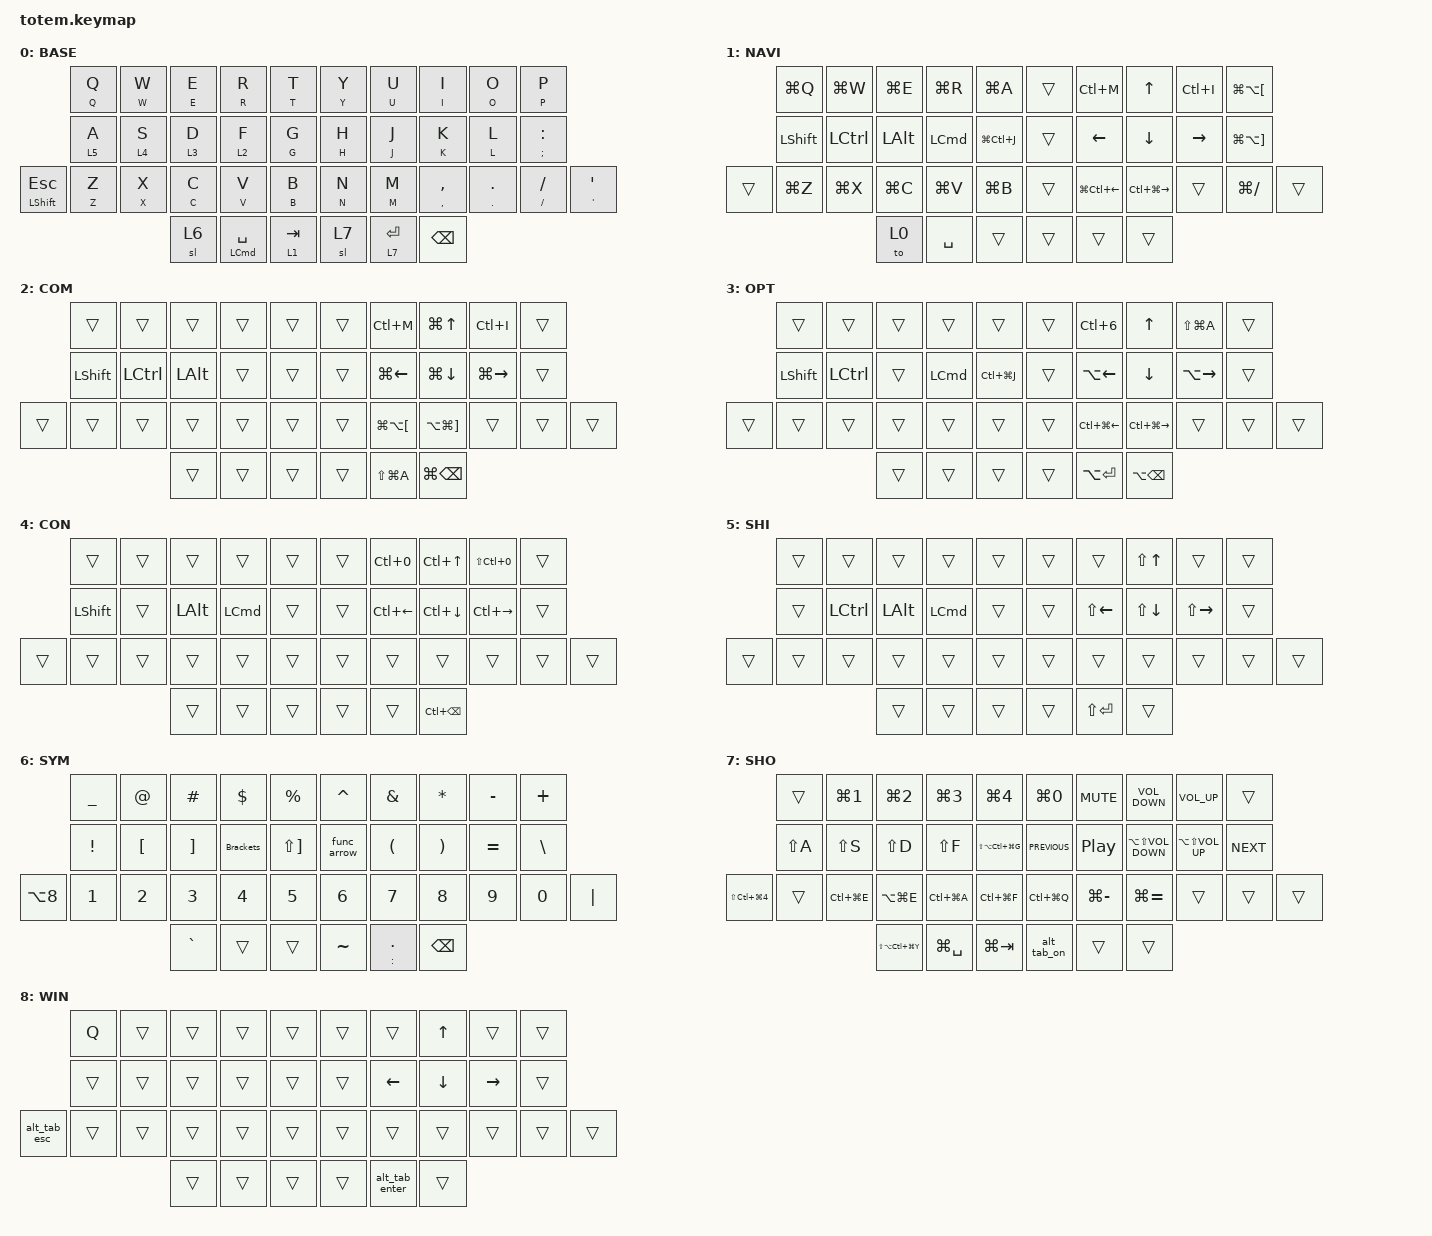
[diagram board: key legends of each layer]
//
//                                                        ▀▀▀▀▀     ▀▀▀▀▀          ▀▀█▀▀
//                                                        ▄▀▀▀▄  ▄  ▄▀▀▀▄  ▄  ▄▀▀▀▄  █  ▄▀▀▀▄
//                                                        █   █  █  █   █  █  █   █  █  █   █
//                                                         ▀▀▀   █   ▀▀▀   █   ▀▀▀   ▀   ▀▀▀
//                                                               █      ▄▄▄█▄▄▄    █   █  
//                                                               ▀      █  █  █     █▄█
//                                                             ▀▀▀▀▀    █  █  █      ▀
//                                                                      ▀  ▀  ▀
//
// ▄▄▄▄▄▄▄▄▄▄▄▄▄▄▄▄▄▄▄▄▄▄▄▄▄▄▄▄▄▄▄▄▄▄▄▄▄▄▄▄▄▄▄▄▄▄▄▄▄▄▄▄▄▄▄▄▄▄▄▄▄▄▄▄▄▄▄▄▄▄▄▄▄▄▄▄▄▄▄▄▄▄▄▄▄▄▄▄▄▄▄▄▄▄▄▄▄▄▄▄▄▄▄▄▄▄▄▄▄▄▄▄▄▄▄▄▄▄▄▄▄▄▄▄▄▄▄▄▄▄▄▄▄▄▄▄▄▄▄▄▄▄▄▄▄▄▄▄▄

#include <behaviors.dtsi>
#include <dt-bindings/zmk/keys.h>
#include <dt-bindings/zmk/keys.h>

#define BASE 0
#define NAV  1
#define SYM  2
#define ADJ  3

&mt {
    quick-tap-ms = <100>;
    global-quick-tap;
    flavor = "tap-preferred";
    tapping-term-ms = <170>;
};

/ {
    combos {
        compatible = "zmk,combos";

        caps {
            bindings = <&caps_word>;
            key-positions = <6 7>;
            layers = <0>;
        };

        to_nav_layer {
            bindings = <&tog 1>;
            key-positions = <16 17>;
            layers = <0>;
        };
    };

    macros {
        shift: shift {
            compatible = "zmk,behavior-macro-one-param";
            #binding-cells = <1>;
            bindings =
                <&macro_press>,
                <&kp LEFT_SHIFT>,
                <&macro_tap>,
                <&macro_param_1to1 &kp MACRO_PLACEHOLDER>,
                <&macro_release>,
                <&kp LEFT_SHIFT>;

            label = "SHIFT";
        };

        Brackets: Brackets {
            compatible = "zmk,behavior-macro";
            #binding-cells = <0>;
            bindings = <&kp LS(LEFT_BRACKET) &kp SPACE &kp SPACE &kp LS(RIGHT_BRACKET) &kp LEFT &kp LEFT>;
            label = "BRACKETS";
        };

        func_arrow: func_arrow {
            compatible = "zmk,behavior-macro";
            #binding-cells = <0>;
            bindings = <&kp MINUS &kp GT &kp SPACE>;
            label = "FUNC_ARROW";
        };

        alt_tab_on: alt_tab {
            compatible = "zmk,behavior-macro";
            #binding-cells = <0>;
            bindings = <&kt LEFT_COMMAND &kp TAB &to 8>;
            label = "ALT_TAB";
        };

        alt_tab_enter: alt_tab_off {
            compatible = "zmk,behavior-macro";
            #binding-cells = <0>;
            bindings = <&kt LEFT_COMMAND &to 0>;
            label = "ALT_TAB_OFF";
        };

        alt_tab_esc: alt_tab_esc {
            compatible = "zmk,behavior-macro";
            #binding-cells = <0>;
            bindings = <&kp ESC &kt LEFT_COMMAND &to 0>;
            label = "ALT_TAB_ESC";
        };
    };

    behaviors {
        as_ht: autoshift_hold_tap {
            compatible = "zmk,behavior-hold-tap";
            label = "AUTOSHIFT_HOLD_TAP";
            bindings = <&shift>, <&kp>;

            #binding-cells = <2>;
            tapping-term-ms = <190>;
            flavor = "tap-preferred";
        };
    };

    keymap {
        compatible = "zmk,keymap";

        // ▄▄▄▄▄▄▄▄▄▄▄▄▄▄▄▄▄▄▄▄▄▄▄▄▄▄▄▄▄▄▄▄▄▄▄▄▄▄▄▄▄▄▄▄▄▄▄▄▄▄▄▄▄▄▄▄▄▄▄▄▄▄▄▄▄▄▄▄▄▄▄▄▄▄▄▄▄▄▄▄▄▄▄▄▄▄▄▄▄▄▄▄▄▄▄▄▄▄▄▄▄▄▄▄▄▄▄▄▄▄▄▄▄▄▄▄▄▄▄▄▄▄▄▄▄▄▄▄▄▄▄▄▄▄▄▄▄▄▄▄▄▄▄▄▄▄▄▄▄

        base_layer {
            // ┏━━━━━━━━━━━━━━━━━━━━━━━━━━━━━━━━━━━━━━━┓

            label = "BASE";

            // ┗━━━━━━━━━━━━━━━━━━━━━━━━━━━━━━━━━━━━━━━┛
            //             ┏━━━━━━━━━━━┳━━━━━━━━━━━┳━━━━━━━━━━━┳━━━━━━━━━━━┳━━━━━━━━━━━┓   ┏━━━━━━━━━━━┳━━━━━━━━━━━┳━━━━━━━━━━━┳━━━━━━━━━━━┳━━━━━━━━━━━┓
            //             ┃     Q     ┃     W     ┃     E     ┃     R     ┃     T     ┃   ┃     Y     ┃     U     ┃     I     ┃     O     ┃     P     ┃
            //             ┣━━━━━━━━━━━╋━━━━━━━━━━━╋━━━━━━━━━━━╋━━━━━━━━━━━╋━━━━━━━━━━━┫   ┣━━━━━━━━━━━╋━━━━━━━━━━━╋━━━━━━━━━━━╋━━━━━━━━━━━╋━━━━━━━━━━━┫
            //             ┃     A     ┃     S     ┃     D     ┃     F     ┃     G     ┃   ┃     H     ┃     J     ┃     K     ┃     L     ┃     ;     ┃
            // ┏━━━━━━━━━━━╋━━━━━━━━━━━╋━━━━━━━━━━━╋━━━━━━━━━━━╋━━━━━━━━━━━╋━━━━━━━━━━━┫   ┣━━━━━━━━━━━╋━━━━━━━━━━━╋━━━━━━━━━━━╋━━━━━━━━━━━╋━━━━━━━━━━━╋━━━━━━━━━━━┓
            // ┃     Q     ┃     Z     ┃     X     ┃     C     ┃     V     ┃     B     ┃   ┃     N     ┃     M     ┃     ,     ┃     .     ┃     /     ┃     \     ┃
            // ┗━━━━━━━━━━━┻━━━━━━━━━━━┻━━━━━━━━━━━╋━━━━━━━━━━━╋━━━━━━━━━━━╋━━━━━━━━━━━┫   ┣━━━━━━━━━━━╋━━━━━━━━━━━╋━━━━━━━━━━━╋━━━━━━━━━━━┻━━━━━━━━━━━┻━━━━━━━━━━━┛
            //                                     ┃    DEL    ┃    TAB    ┃    SPC    ┃   ┃   ENTER   ┃           ┃   BSPC    ┃
            //                                     ┗━━━━━━━━━━━┻━━━━━━━━━━━┻━━━━━━━━━━━┛   ┗━━━━━━━━━━━┻━━━━━━━━━━━┻━━━━━━━━━━━┛

            bindings = <
                    &as_ht Q Q  &as_ht W W  &as_ht E E  &as_ht R R              &as_ht T T    &as_ht Y Y  &as_ht U U   &as_ht I I          &as_ht O O      &as_ht P P
                    &lt 5 A     &lt 4 S     &lt 3 D     &lt 2 F                 &as_ht G G    &as_ht H H  &as_ht J J   &as_ht K K          &as_ht L L      &as_ht SEMI COLON
&mt LEFT_SHIFT ESC  &as_ht Z Z  &as_ht X X  &as_ht C C  &as_ht V V              &as_ht B B    &as_ht N N  &as_ht M M   &as_ht COMMA COMMA  &as_ht DOT DOT  &as_ht FSLH FSLH   &as_ht SINGLE_QUOTE SINGLE_QUOTE
                                            &sl 6       &mt LEFT_COMMAND SPACE  &lt 1 TAB     &sl 7       &lt 7 ENTER  &kp BSPC
            >;
        };

        // ▄▄▄▄▄▄▄▄▄▄▄▄▄▄▄▄▄▄▄▄▄▄▄▄▄▄▄▄▄▄▄▄▄▄▄▄▄▄▄▄▄▄▄▄▄▄▄▄▄▄▄▄▄▄▄▄▄▄▄▄▄▄▄▄▄▄▄▄▄▄▄▄▄▄▄▄▄▄▄▄▄▄▄▄▄▄▄▄▄▄▄▄▄▄▄▄▄▄▄▄▄▄▄▄▄▄▄▄▄▄▄▄▄▄▄▄▄▄▄▄▄▄▄▄▄▄▄▄▄▄▄▄▄▄▄▄▄▄▄▄▄▄▄▄▄▄▄▄▄

        nav_layer {
            // ┏━━━━━━━━━━━━━━━━━━━━━━━━━━━━━━━━━━━━━━━┓

            label = "NAVI";

            // ┗━━━━━━━━━━━━━━━━━━━━━━━━━━━━━━━━━━━━━━━┛
            //             ┏━━━━━━━━━━━┳━━━━━━━━━━━┳━━━━━━━━━━━┳━━━━━━━━━━━┳━━━━━━━━━━━┓   ┏━━━━━━━━━━━┳━━━━━━━━━━━┳━━━━━━━━━━━┳━━━━━━━━━━━┳━━━━━━━━━━━┓
            //             ┃           ┃           ┃     UP    ┃           ┃     {     ┃   ┃     }     ┃     7     ┃     8     ┃     9     ┃     +     ┃
            //             ┣━━━━━━━━━━━╋━━━━━━━━━━━╋━━━━━━━━━━━╋━━━━━━━━━━━╋━━━━━━━━━━━┫   ┣━━━━━━━━━━━╋━━━━━━━━━━━╋━━━━━━━━━━━╋━━━━━━━━━━━╋━━━━━━━━━━━┫
            //             ┃   SHIFT   ┃   LEFT    ┃    DOWN   ┃   RIGHT   ┃     [     ┃   ┃     ]     ┃     4     ┃     5     ┃     6     ┃     -     ┃
            // ┏━━━━━━━━━━━╋━━━━━━━━━━━╋━━━━━━━━━━━╋━━━━━━━━━━━╋━━━━━━━━━━━╋━━━━━━━━━━━┫   ┣━━━━━━━━━━━╋━━━━━━━━━━━╋━━━━━━━━━━━╋━━━━━━━━━━━╋━━━━━━━━━━━╋━━━━━━━━━━━┓
            // ┃           ┃           ┃   P UP    ┃  C LOCK   ┃  P DOWN   ┃     (     ┃   ┃     )     ┃     1     ┃     2     ┃     3     ┃     *     ┃           ┃
            // ┗━━━━━━━━━━━┻━━━━━━━━━━━┻━━━━━━━━━━━╋━━━━━━━━━━━╋━━━━━━━━━━━╋━━━━━━━━━━━┫   ┣━━━━━━━━━━━╋━━━━━━━━━━━╋━━━━━━━━━━━╋━━━━━━━━━━━┻━━━━━━━━━━━┻━━━━━━━━━━━┛
            //                                     ┃           ┃    TAB    ┃    SPC    ┃   ┃    DEL    ┃     0     ┃           ┃
            //                                     ┗━━━━━━━━━━━┻━━━━━━━━━━━┻━━━━━━━━━━━┛   ┗━━━━━━━━━━━┻━━━━━━━━━━━┻━━━━━━━━━━━┛

            bindings = <
        &kp LG(Q)  &kp LG(W)         &kp LG(E)     &kp LG(R)         &kp LG(A)        &trans  &kp LC(M)               &kp UP_ARROW       &kp LC(I)  &kp LG(LA(LEFT_BRACKET))
        &kp LSHFT  &kp LEFT_CONTROL  &kp LEFT_ALT  &kp LEFT_COMMAND  &kp LG(LC(J))    &trans  &kp LEFT                &kp DOWN           &kp RIGHT  &kp LG(LA(RIGHT_BRACKET))
&trans  &kp LG(Z)  &kp LG(X)         &kp LG(C)     &kp LG(V)         &kp LG(B)        &trans  &kp LG(LC(LEFT_ARROW))  &kp LC(LG(RIGHT))  &trans     &kp LG(SLASH)              &trans
                                     &to 0         &kp SPACE         &trans           &trans  &trans                  &trans
            >;
        };

        // ▄▄▄▄▄▄▄▄▄▄▄▄▄▄▄▄▄▄▄▄▄▄▄▄▄▄▄▄▄▄▄▄▄▄▄▄▄▄▄▄▄▄▄▄▄▄▄▄▄▄▄▄▄▄▄▄▄▄▄▄▄▄▄▄▄▄▄▄▄▄▄▄▄▄▄▄▄▄▄▄▄▄▄▄▄▄▄▄▄▄▄▄▄▄▄▄▄▄▄▄▄▄▄▄▄▄▄▄▄▄▄▄▄▄▄▄▄▄▄▄▄▄▄▄▄▄▄▄▄▄▄▄▄▄▄▄▄▄▄▄▄▄▄▄▄▄▄▄▄

        command_layer {
            // ┏━━━━━━━━━━━━━━━━━━━━━━━━━━━━━━━━━━━━━━━┓

            label = "COM";

            // ┗━━━━━━━━━━━━━━━━━━━━━━━━━━━━━━━━━━━━━━━┛
            //             ┏━━━━━━━━━━━┳━━━━━━━━━━━┳━━━━━━━━━━━┳━━━━━━━━━━━┳━━━━━━━━━━━┓   ┏━━━━━━━━━━━┳━━━━━━━━━━━┳━━━━━━━━━━━┳━━━━━━━━━━━┳━━━━━━━━━━━┓
            //             ┃     !     ┃     @     ┃     #     ┃     $     ┃     %     ┃   ┃     ˆ     ┃     &     ┃     Ü     ┃     '     ┃     "     ┃
            //             ┣━━━━━━━━━━━╋━━━━━━━━━━━╋━━━━━━━━━━━╋━━━━━━━━━━━╋━━━━━━━━━━━┫   ┣━━━━━━━━━━━╋━━━━━━━━━━━╋━━━━━━━━━━━╋━━━━━━━━━━━╋━━━━━━━━━━━┫
            //             ┃     Ä     ┃           ┃    SZ     ┃           ┃           ┃   ┃   MUTE    ┃   YEN     ┃   EURO    ┃  POUND    ┃     Ö     ┃
            // ┏━━━━━━━━━━━╋━━━━━━━━━━━╋━━━━━━━━━━━╋━━━━━━━━━━━╋━━━━━━━━━━━╋━━━━━━━━━━━┫   ┣━━━━━━━━━━━╋━━━━━━━━━━━╋━━━━━━━━━━━╋━━━━━━━━━━━╋━━━━━━━━━━━╋━━━━━━━━━━━┓
            // ┃           ┃  EMAIL1   ┃  EMAIL2   ┃           ┃           ┃           ┃   ┃   VOL-    ┃   VOL+    ┃   LAST    ┃   NEXT    ┃     \     ┃           ┃
            // ┗━━━━━━━━━━━┻━━━━━━━━━━━┻━━━━━━━━━━━╋━━━━━━━━━━━╋━━━━━━━━━━━╋━━━━━━━━━━━┫   ┣━━━━━━━━━━━╋━━━━━━━━━━━╋━━━━━━━━━━━╋━━━━━━━━━━━┻━━━━━━━━━━━┻━━━━━━━━━━━┛
            //                                     ┃           ┃    GIF    ┃    ADJ    ┃   ┃           ┃           ┃           ┃
            //                                     ┗━━━━━━━━━━━┻━━━━━━━━━━━┻━━━━━━━━━━━┛   ┗━━━━━━━━━━━┻━━━━━━━━━━━┻━━━━━━━━━━━┛

            bindings = <
        &trans          &trans            &trans        &trans  &trans    &trans  &kp LC(M)                 &kp LG(UP_ARROW)           &kp LC(I)      &trans
        &kp LEFT_SHIFT  &kp LEFT_CONTROL  &kp LEFT_ALT  &trans  &trans    &trans  &kp LG(LEFT)              &kp LG(DOWN)               &kp LG(RIGHT)  &trans
&trans  &trans          &trans            &trans        &trans  &trans    &trans  &kp LG(LA(LEFT_BRACKET))  &kp LA(LG(RIGHT_BRACKET))  &trans         &trans  &trans
                                          &trans        &trans  &trans    &trans  &kp LS(LG(A))             &kp LG(BACKSPACE)
            >;
        };

        // ▄▄▄▄▄▄▄▄▄▄▄▄▄▄▄▄▄▄▄▄▄▄▄▄▄▄▄▄▄▄▄▄▄▄▄▄▄▄▄▄▄▄▄▄▄▄▄▄▄▄▄▄▄▄▄▄▄▄▄▄▄▄▄▄▄▄▄▄▄▄▄▄▄▄▄▄▄▄▄▄▄▄▄▄▄▄▄▄▄▄▄▄▄▄▄▄▄▄▄▄▄▄▄▄▄▄▄▄▄▄▄▄▄▄▄▄▄▄▄▄▄▄▄▄▄▄▄▄▄▄▄▄▄▄▄▄▄▄▄▄▄▄▄▄▄▄▄▄▄

        option_layer {
            // ┏━━━━━━━━━━━━━━━━━━━━━━━━━━━━━━━━━━━━━━━┓

            label = "OPT";

            // ┗━━━━━━━━━━━━━━━━━━━━━━━━━━━━━━━━━━━━━━━┛
            //             ┏━━━━━━━━━━━┳━━━━━━━━━━━┳━━━━━━━━━━━┳━━━━━━━━━━━┳━━━━━━━━━━━┓   ┏━━━━━━━━━━━┳━━━━━━━━━━━┳━━━━━━━━━━━┳━━━━━━━━━━━┳━━━━━━━━━━━┓
            //             ┃   RESET   ┃ BT CLEAR  ┃  OUT TOG  ┃           ┃           ┃   ┃           ┃    F7     ┃    F8     ┃    F9     ┃    F12    ┃
            //             ┣━━━━━━━━━━━╋━━━━━━━━━━━╋━━━━━━━━━━━╋━━━━━━━━━━━╋━━━━━━━━━━━┫   ┣━━━━━━━━━━━╋━━━━━━━━━━━╋━━━━━━━━━━━╋━━━━━━━━━━━╋━━━━━━━━━━━┫
            //             ┃ BOOTLOAD  ┃ BT NEXT   ┃           ┃           ┃           ┃   ┃           ┃    F4     ┃    F5     ┃    F6     ┃    F11    ┃
            // ┏━━━━━━━━━━━╋━━━━━━━━━━━╋━━━━━━━━━━━╋━━━━━━━━━━━╋━━━━━━━━━━━╋━━━━━━━━━━━┫   ┣━━━━━━━━━━━╋━━━━━━━━━━━╋━━━━━━━━━━━╋━━━━━━━━━━━╋━━━━━━━━━━━╋━━━━━━━━━━━┓
            // ┃           ┃           ┃ BT PREV   ┃           ┃           ┃           ┃   ┃           ┃    F1     ┃    F2     ┃    F3     ┃    F10    ┃           ┃
            // ┗━━━━━━━━━━━┻━━━━━━━━━━━┻━━━━━━━━━━━╋━━━━━━━━━━━╋━━━━━━━━━━━╋━━━━━━━━━━━┫   ┣━━━━━━━━━━━╋━━━━━━━━━━━╋━━━━━━━━━━━╋━━━━━━━━━━━┻━━━━━━━━━━━┻━━━━━━━━━━━┛
            //                                     ┃           ┃           ┃           ┃   ┃           ┃           ┃           ┃
            //                                     ┗━━━━━━━━━━━┻━━━━━━━━━━━┻━━━━━━━━━━━┛   ┗━━━━━━━━━━━┻━━━━━━━━━━━┻━━━━━━━━━━━┛

            bindings = <
        &trans          &trans            &trans  &trans            &trans           &trans  &kp LC(NUMBER_6)    &kp UP_ARROW       &kp LS(LG(A))  &trans
        &kp LEFT_SHIFT  &kp LEFT_CONTROL  &trans  &kp LEFT_COMMAND  &kp LC(LG(J))    &trans  &kp LA(LEFT_ARROW)  &kp DOWN           &kp LA(RIGHT)  &trans
&trans  &trans          &trans            &trans  &trans            &trans           &trans  &kp LC(LG(LEFT))    &kp LC(LG(RIGHT))  &trans         &trans  &trans
                                          &trans  &trans            &trans           &trans  &kp LA(ENTER)       &kp LA(BACKSPACE)
            >;
        };

        control_layer {
            bindings = <
        &trans          &trans  &trans        &trans            &trans    &trans  &kp LC(N0)    &kp LC(UP_ARROW)    &kp LS(LC(N0))  &trans
        &kp LEFT_SHIFT  &trans  &kp LEFT_ALT  &kp LEFT_COMMAND  &trans    &trans  &kp LC(LEFT)  &kp LC(DOWN_ARROW)  &kp LC(RIGHT)   &trans
&trans  &trans          &trans  &trans        &trans            &trans    &trans  &trans        &trans              &trans          &trans  &trans
                                &trans        &trans            &trans    &trans  &trans        &kp LC(BACKSPACE)
            >;

            label = "CON";
        };

        shift_layer {
            bindings = <
        &trans  &trans            &trans        &trans            &trans    &trans  &trans         &kp LS(UP_ARROW)    &trans         &trans
        &trans  &kp LEFT_CONTROL  &kp LEFT_ALT  &kp LEFT_COMMAND  &trans    &trans  &kp LS(LEFT)   &kp LS(DOWN_ARROW)  &kp LS(RIGHT)  &trans
&trans  &trans  &trans            &trans        &trans            &trans    &trans  &trans         &trans              &trans         &trans  &trans
                                  &trans        &trans            &trans    &trans  &kp LS(ENTER)  &trans
            >;

            label = "SHI";
        };

        symbol_layer {
            bindings = <
            &kp UNDERSCORE  &kp AT            &kp HASH           &kp DOLLAR    &kp PERCENT              &kp CARET     &kp AMPERSAND         &kp ASTERISK           &kp MINUS  &kp PLUS
            &kp EXCL        &kp LEFT_BRACKET  &kp RIGHT_BRACKET  &Brackets     &kp LS(RIGHT_BRACKET)    &func_arrow   &kp LEFT_PARENTHESIS  &kp RIGHT_PARENTHESIS  &kp EQUAL  &kp BACKSLASH
&kp LA(N8)  &kp NUMBER_1    &kp NUMBER_2      &kp NUMBER_3       &kp NUMBER_4  &kp NUMBER_5             &kp NUMBER_6  &kp N7                &kp N8                 &kp N9     &kp N0         &kp PIPE
                                              &kp GRAVE          &trans        &trans                   &kp TILDE     &as_ht COLON PERIOD   &kp BACKSPACE
            >;

            label = "SYM";
        };

        shortcut_layer {
            bindings = <
                          &trans     &kp LG(NUMBER_1)  &kp LG(NUMBER_2)       &kp LG(NUMBER_3)  &kp LG(NUMBER_4)         &kp LG(N0)      &kp K_MUTE        &kp C_VOLUME_DOWN          &kp C_VOLUME_UP          &trans
                          &kp LS(A)  &kp LS(S)         &kp LS(D)              &kp LS(F)         &kp LS(LA(LC(LG(G))))    &kp C_PREVIOUS  &kp C_PLAY_PAUSE  &kp LA(LS(C_VOLUME_DOWN))  &kp LA(LS(C_VOLUME_UP))  &kp C_NEXT
&kp LS(LC(LG(NUMBER_4)))  &trans     &kp LC(LG(E))     &kp LA(LG(E))          &kp LC(LG(A))     &kp LC(LG(F))            &kp LC(LG(Q))   &kp LG(MINUS)     &kp LG(EQUAL)              &trans                   &trans      &trans
                                                       &kp LS(LA(LC(LG(Y))))  &kp LG(SPACE)     &kp LG(TAB)              &alt_tab_on     &trans            &trans
            >;

            label = "SHO";
        };

        window_layer {
            bindings = <
              &kp Q   &trans  &trans  &trans  &trans    &trans  &trans          &kp UP_ARROW    &trans     &trans
              &trans  &trans  &trans  &trans  &trans    &trans  &kp LEFT        &kp DOWN_ARROW  &kp RIGHT  &trans
&alt_tab_esc  &trans  &trans  &trans  &trans  &trans    &trans  &trans          &trans          &trans     &trans  &trans
                              &trans  &trans  &trans    &trans  &alt_tab_enter  &trans
            >;

            label = "WIN";
        };
    };
};
